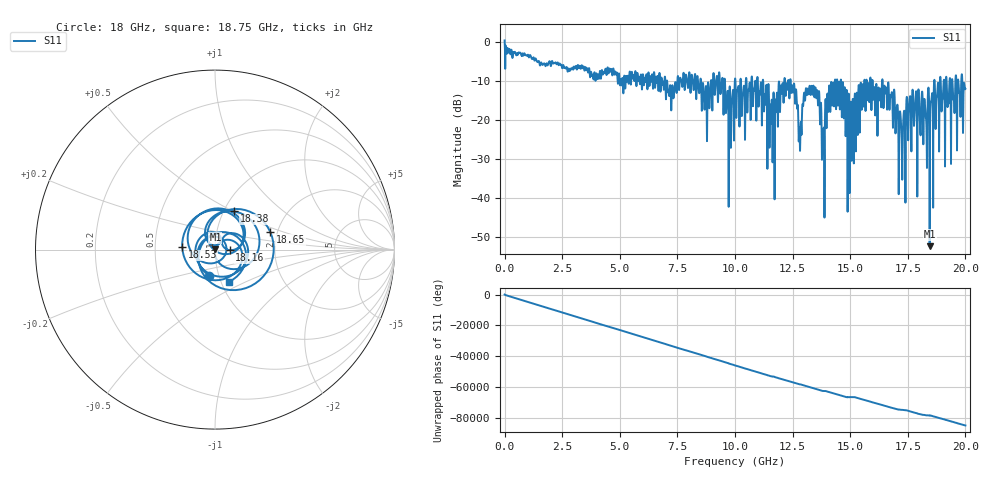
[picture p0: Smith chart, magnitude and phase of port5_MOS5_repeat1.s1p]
! MS46122B
! 2250307/22442219
! 7/21/2025 12:18:14 PM
! C:\USERS\SPARKY\DOCUMENTS\VNA_DATA\JULY21_2025\295K\PORT5_MOS5_REPEAT1.S1P
! CHANNEL.1
! TR.MEASUREMENT
! RAW.DATA
# GHZ S RI R 50.0
! FREQ.GHZ  S11RE  S11IM
!; PortSelection: Port_1
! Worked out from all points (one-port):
!   10001 points, 1 MHz to 20 GHz, reference 50 ohm
!   lowest |S11| = -52.4 dB at 18.45 GHz (marker M1), VSWR 1.00, Z = 50.2 + j0.104 ohm
!   |S11| at or under -10 dB: 12.42 GHz to 14.34 GHz (1.918 GHz wide, 14.3 % of centre); 14.6 GHz to 15.61 GHz (1.01 GHz wide, 6.68 % of centre); 16.41 GHz to 18.64 GHz (2.237 GHz wide, 12.8 % of centre) (the widest 3 of 68)
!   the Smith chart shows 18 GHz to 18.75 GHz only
!   S11 on the Smith chart (normalised r, x): 18 GHz: 0.89, -0.27; 18.16 GHz: 1.18, -0.01; 18.38 GHz: 1.12, +0.50; 18.53 GHz: 0.69, +0.02; 18.65 GHz: 1.83, +0.40; 18.75 GHz: 1.08, -0.41
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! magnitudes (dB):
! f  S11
! 1 MHz  0.4
! 2.501 GHz  -6.7
! 5.001 GHz  -10.8
! 7.501 GHz  -9.8
! 10 GHz  -9.5
! 11.05 GHz  -13.0
! 11.64 GHz  -25.9
! 11.98 GHz  -11.5
! 12.5 GHz  -11.6
! 12.82 GHz  -26.6
! 13.01 GHz  -13.4
! 13.32 GHz  -11.2
! 13.57 GHz  -12.7
! 13.8 GHz  -22.6
! 14.26 GHz  -10.4
! 15 GHz  -17.6
! 15.79 GHz  -10.5
! 16.73 GHz  -14.4
! 17.19 GHz  -19.1
! 17.5 GHz  -20.8
! 18 GHz  -16.3
! 18.16 GHz  -21.8
! 18.38 GHz  -12.5
! 18.45 GHz  -52.4
! 18.53 GHz  -14.7
! 18.65 GHz  -9.8
! 18.75 GHz  -14.2
! 20 GHz  -12.0
